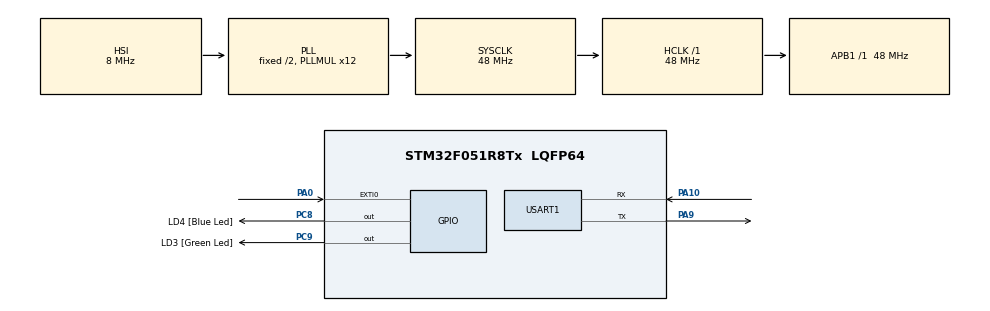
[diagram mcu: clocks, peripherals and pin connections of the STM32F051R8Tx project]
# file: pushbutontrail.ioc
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Mcu.Family=STM32F0
Mcu.Name=STM32F051R8Tx
Mcu.Package=LQFP64
NVIC.USART1_IRQn=true\:0\:0\:false\:false\:true\:true\:true
PA0.Signal=GPXTI0
PA10.Mode=Asynchronous
PA10.Signal=USART1_RX
PA13.GPIO_Label=SWDIO
PA13.Mode=Serial_Wire
PA13.Signal=SYS_SWDIO
PA14.GPIO_Label=SWCLK
PA14.Mode=Serial_Wire
PA14.Signal=SYS_SWCLK
PA9.Mode=Asynchronous
PA9.Signal=USART1_TX
PC8.GPIO_Label=LD4 [Blue Led]
PC8.Signal=GPIO_Output
PC9.GPIO_Label=LD3 [Green Led]
PC9.Signal=GPIO_Output
ProjectManager.HeapSize=0x200
ProjectManager.StackSize=0x400
ProjectManager.TargetToolchain=STM32CubeIDE
RCC.AHBFreq_Value=48000000
RCC.APB1Freq_Value=48000000
RCC.APB1TimFreq_Value=48000000
RCC.HCLKFreq_Value=48000000
RCC.PLLMUL=RCC_PLL_MUL12
RCC.SYSCLKFreq_VALUE=48000000
RCC.SYSCLKSource=RCC_SYSCLKSOURCE_PLLCLK
USART1.VirtualMode-Asynchronous=VM_ASYNC
board=STM32F0DISCOVERY

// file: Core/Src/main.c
/* USER CODE BEGIN Header */
/**
  ******************************************************************************
  * @file           : main.c
  * @brief          : Main program body
  ******************************************************************************
  * @attention
  *
  * <h2><center>&copy; Copyright (c) 2020 STMicroelectronics.
  * All rights reserved.</center></h2>
  *
  * This software component is licensed by ST under BSD 3-Clause license,
  * the "License"; You may not use this file except in compliance with the
  * License. You may obtain a copy of the License at:
  *                        opensource.org/licenses/BSD-3-Clause
  *
  ******************************************************************************
  */
/* USER CODE END Header */
#include "main.h"

UART_HandleTypeDef huart1;

/* USER CODE BEGIN PV */
uint8_t RX1_Char = 0x00;
/* USER CODE END PV */

void SystemClock_Config(void);
static void MX_GPIO_Init(void);
static void MX_USART1_UART_Init(void);
/* USER CODE BEGIN PFP */
void HAL_USART_RxCpltCallback(UART_HandleTypeDef *huart)
{
	HAL_UART_Receive_IT(&huart1, &RX1_Char, 1);
}
/* USER CODE END PFP */

int main(void)
{
  /* USER CODE BEGIN 1 */
	uint8_t MSG1[] = "Button state: Released LED OFF\r\n";
	uint8_t MSG2[] = "Button state: Pressed LED ON\r\n";
  /* USER CODE END 1 */

  /* MCU Configuration--------------------------------------------------------*/

  /* Reset of all peripherals, Initializes the Flash interface and the Systick. */
  HAL_Init();

  /* Configure the system clock */
  SystemClock_Config();

  /* Initialize all configured peripherals */
  MX_GPIO_Init();
  MX_USART1_UART_Init();
  /* USER CODE BEGIN 2 */
  HAL_UART_Receive_IT(&huart1, &RX1_Char, 1);       // HAL_UART_Receive_IT(huart, pData, Size)

  /* USER CODE END 2 */

  /* Infinite loop */
  /* USER CODE BEGIN WHILE */
     while (1)
  {
	  if(HAL_GPIO_ReadPin(GPIOA,  GPIO_PIN_0)){	//check if PA0 is set
		  HAL_GPIO_WritePin(GPIOC, GPIO_PIN_8, GPIO_PIN_SET);	//switch on LED8
		  HAL_GPIO_WritePin(GPIOC, GPIO_PIN_9, GPIO_PIN_SET);	//switch on LED9

	 }else{
		  HAL_GPIO_WritePin(GPIOC,  GPIO_PIN_8, GPIO_PIN_RESET);	//switch off LED8
		  HAL_GPIO_WritePin(GPIOC,  GPIO_PIN_9, GPIO_PIN_RESET);
	  }
	  //---------[Read button state and send it via UART]
	  	  if(HAL_GPIO_ReadPin(GPIOA, GPIO_PIN_0))
	  	  {
	  		  HAL_UART_Transmit(&huart1, MSG2, sizeof(MSG2), 100);
	  	  }
	  	  else
	  	  {
	  		  HAL_UART_Transmit(&huart1, MSG1, sizeof(MSG1), 100);
	  	  }

    /* USER CODE END WHILE */

  }
}

void SystemClock_Config(void)
{
  RCC_OscInitTypeDef RCC_OscInitStruct = {0};
  RCC_ClkInitTypeDef RCC_ClkInitStruct = {0};
  RCC_PeriphCLKInitTypeDef PeriphClkInit = {0};

  /** Initializes the RCC Oscillators according to the specified parameters
  * in the RCC_OscInitTypeDef structure.
  */
  RCC_OscInitStruct.OscillatorType = RCC_OSCILLATORTYPE_HSI;
  RCC_OscInitStruct.HSIState = RCC_HSI_ON;
  RCC_OscInitStruct.HSICalibrationValue = RCC_HSICALIBRATION_DEFAULT;
  RCC_OscInitStruct.PLL.PLLState = RCC_PLL_ON;
  RCC_OscInitStruct.PLL.PLLSource = RCC_PLLSOURCE_HSI;
  RCC_OscInitStruct.PLL.PLLMUL = RCC_PLL_MUL12;
  RCC_OscInitStruct.PLL.PREDIV = RCC_PREDIV_DIV1;
  if (HAL_RCC_OscConfig(&RCC_OscInitStruct) != HAL_OK)
  {
    Error_Handler();
  }
  /** Initializes the CPU, AHB and APB buses clocks
  */
  RCC_ClkInitStruct.ClockType = RCC_CLOCKTYPE_HCLK|RCC_CLOCKTYPE_SYSCLK
                              |RCC_CLOCKTYPE_PCLK1;
  RCC_ClkInitStruct.SYSCLKSource = RCC_SYSCLKSOURCE_PLLCLK;
  RCC_ClkInitStruct.AHBCLKDivider = RCC_SYSCLK_DIV1;
  RCC_ClkInitStruct.APB1CLKDivider = RCC_HCLK_DIV1;

  if (HAL_RCC_ClockConfig(&RCC_ClkInitStruct, FLASH_LATENCY_1) != HAL_OK)
  {
    Error_Handler();
  }
  PeriphClkInit.PeriphClockSelection = RCC_PERIPHCLK_USART1;
  PeriphClkInit.Usart1ClockSelection = RCC_USART1CLKSOURCE_PCLK1;
  if (HAL_RCCEx_PeriphCLKConfig(&PeriphClkInit) != HAL_OK)
  {
    Error_Handler();
  }
}

static void MX_USART1_UART_Init(void)
{

  huart1.Instance = USART1;
  huart1.Init.BaudRate = 9600;
  huart1.Init.WordLength = UART_WORDLENGTH_8B;
  huart1.Init.StopBits = UART_STOPBITS_1;
  huart1.Init.Parity = UART_PARITY_NONE;
  huart1.Init.Mode = UART_MODE_TX_RX;
  huart1.Init.HwFlowCtl = UART_HWCONTROL_NONE;
  huart1.Init.OverSampling = UART_OVERSAMPLING_16;
  huart1.Init.OneBitSampling = UART_ONE_BIT_SAMPLE_DISABLE;
  huart1.AdvancedInit.AdvFeatureInit = UART_ADVFEATURE_NO_INIT;
  if (HAL_UART_Init(&huart1) != HAL_OK)
  {
    Error_Handler();
  }

}

static void MX_GPIO_Init(void)
{
  GPIO_InitTypeDef GPIO_InitStruct = {0};

  /* GPIO Ports Clock Enable */
  __HAL_RCC_GPIOA_CLK_ENABLE();
  __HAL_RCC_GPIOC_CLK_ENABLE();

  /*Configure GPIO pin Output Level */
  HAL_GPIO_WritePin(GPIOC, LD4_Pin|LD3_Pin, GPIO_PIN_RESET);

  /*Configure GPIO pin : PA0 */
  GPIO_InitStruct.Pin = GPIO_PIN_0;
  GPIO_InitStruct.Mode = GPIO_MODE_IT_RISING;
  GPIO_InitStruct.Pull = GPIO_NOPULL;
  HAL_GPIO_Init(GPIOA, &GPIO_InitStruct);

  /*Configure GPIO pins : LD4_Pin LD3_Pin */
  GPIO_InitStruct.Pin = LD4_Pin|LD3_Pin;
  GPIO_InitStruct.Mode = GPIO_MODE_OUTPUT_PP;
  GPIO_InitStruct.Pull = GPIO_NOPULL;
  GPIO_InitStruct.Speed = GPIO_SPEED_FREQ_LOW;
  HAL_GPIO_Init(GPIOC, &GPIO_InitStruct);

}

void Error_Handler(void)
{
  __disable_irq();
  while (1)
  {
  }
}

/************************ (C) COPYRIGHT STMicroelectronics *****END OF FILE****/
